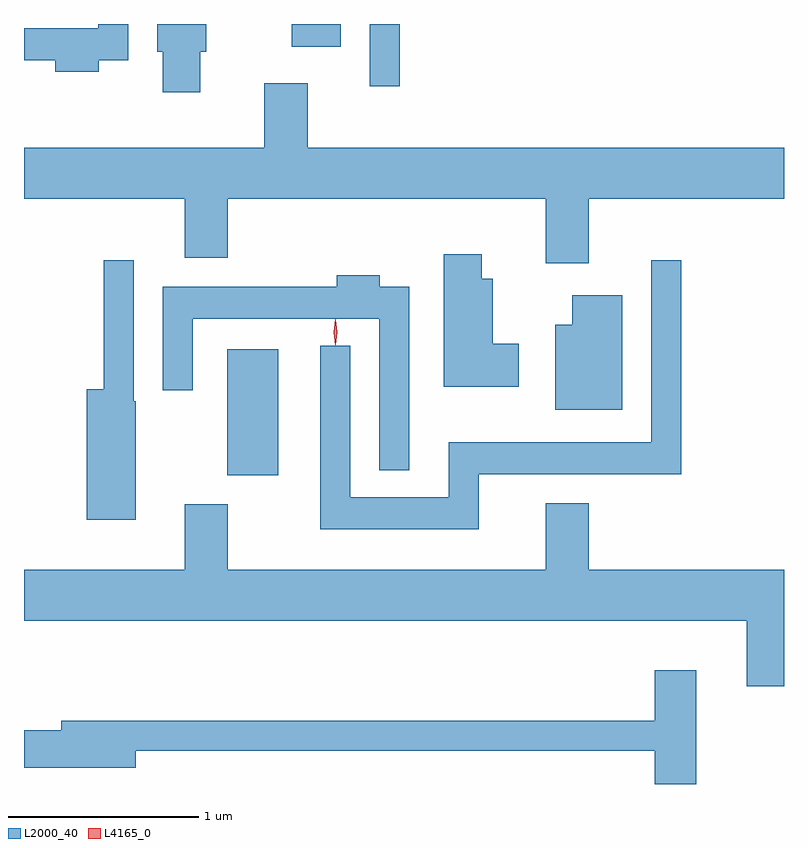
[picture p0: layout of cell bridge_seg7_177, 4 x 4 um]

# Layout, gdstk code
import gdstk
lib = gdstk.Library(unit=1e-6, precision=1e-09)
def R(c, l, rs):  # rectangles x0, y0, x1, y1
    for r in rs: c.add(gdstk.rectangle(r[:2], r[2:], *l))
def P(c, l, *ps):  # polygons
    for p in ps: c.add(gdstk.Polygon(p, *l))
L2000_40 = (2000, 40)
L4165_0 = (4165, 0)

bridge_seg7_177 = lib.new_cell('bridge_seg7_177')
R(bridge_seg7_177, L2000_40, [(1496.576,1701.761,1496.844,1702.424), (1497.326,1703.808,1497.484,1704.136), (1496.916,1704.016,1497.174,1704.136)])
P(bridge_seg7_177, L2000_40, [(1495.899,1703.946),(1496.054,1703.946),(1496.054,1704.136),(1495.896,1704.136),(1495.896,1704.114),(1495.506,1704.114),(1495.506,1703.946),(1495.671,1703.946),(1495.671,1703.886),(1495.899,1703.886)],
  [(1496.434,1703.991),(1496.464,1703.991),(1496.464,1704.136),(1496.206,1704.136),(1496.206,1703.991),(1496.236,1703.991),(1496.236,1703.776),(1496.434,1703.776)],
  [(1498.479,1703.216),(1499.506,1703.216),(1499.506,1703.484),(1496.999,1703.484),(1496.999,1703.824),(1496.771,1703.824),(1496.771,1703.484),(1495.506,1703.484),(1495.506,1703.216),(1496.351,1703.216),(1496.351,1702.906),(1496.579,1702.906),(1496.579,1703.216),(1498.251,1703.216),(1498.251,1702.876),(1498.479,1702.876)],
  [(1498.109,1702.454),(1497.974,1702.454),(1497.974,1702.794),(1497.914,1702.794),(1497.914,1702.924),(1497.716,1702.924),(1497.716,1702.226),(1498.109,1702.226)],
  [(1496.094,1702.15),(1496.084,1702.15),(1496.084,1702.893),(1495.926,1702.893),(1495.926,1702.214),(1495.836,1702.214),(1495.836,1701.526),(1496.094,1701.526)],
  [(1497.899,1701.766),(1498.964,1701.766),(1498.964,1702.893),(1498.806,1702.893),(1498.806,1701.934),(1497.741,1701.934),(1497.741,1701.644),(1497.224,1701.644),(1497.224,1702.443),(1497.066,1702.443),(1497.066,1701.476),(1497.899,1701.476)],
  [(1497.534,1702.754),(1497.379,1702.754),(1497.379,1702.814),(1497.151,1702.814),(1497.151,1702.754),(1496.236,1702.754),(1496.236,1702.208),(1496.394,1702.208),(1496.394,1702.586),(1497.376,1702.586),(1497.376,1701.788),(1497.534,1701.788)],
  [(1498.654,1702.709),(1498.391,1702.709),(1498.391,1702.554),(1498.301,1702.554),(1498.301,1702.106),(1498.654,1702.106)],
  [(1499.506,1701.264),(1498.479,1701.264),(1498.479,1701.614),(1498.251,1701.614),(1498.251,1701.264),(1496.579,1701.264),(1496.579,1701.609),(1496.351,1701.609),(1496.351,1701.264),(1495.506,1701.264),(1495.506,1700.996),(1499.311,1700.996),(1499.311,1700.651),(1499.506,1700.651)],
  [(1499.044,1700.734),(1498.826,1700.734),(1498.826,1700.469),(1495.701,1700.469),(1495.701,1700.419),(1495.506,1700.419),(1495.506,1700.221),(1496.094,1700.221),(1496.094,1700.311),(1498.826,1700.311),(1498.826,1700.136),(1499.044,1700.136)])
P(bridge_seg7_177, L4165_0, [(1497.144,1702.444),(1497.135,1702.513),(1497.144,1702.582),(1497.145,1702.583),(1497.145,1702.582),(1497.155,1702.513),(1497.145,1702.444),(1497.145,1702.444)],
  [(1497.144,1702.447),(1497.135,1702.514),(1497.144,1702.58),(1497.145,1702.58),(1497.146,1702.58),(1497.155,1702.514),(1497.146,1702.447),(1497.145,1702.447)])

lib.write_gds('bridge_seg7_177.gds')
